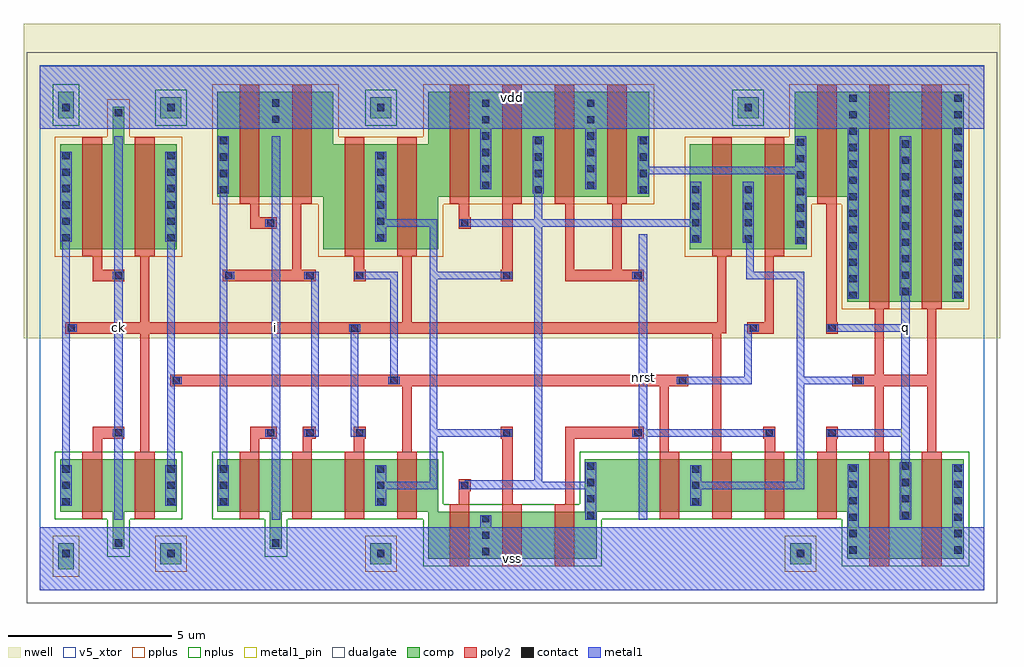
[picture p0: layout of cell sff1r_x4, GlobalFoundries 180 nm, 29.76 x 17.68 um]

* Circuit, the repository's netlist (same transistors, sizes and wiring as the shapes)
* sff1r_x4
.subckt sff1r_x4 vdd ck vss i nrst q
Mp_ck_1 nckr ck vdd vdd pfet_06v0 l=0.6um w=3.2um
Mn_ck_1 nckr ck vss vss nfet_06v0 l=0.6um w=1.6um
Mp_ckr_1 _net0 ckr sff_m vdd pfet_06v0 l=0.6um w=3.2um
Mn_ckr_2 y ckr sff_s vss nfet_06v0 l=0.6um w=1.6um
Mp_ckr_2 sff_s ckr _net3 vdd pfet_06v0 l=0.6um w=3.2um
Mn_ckr_1 sff_m ckr _net6 vss nfet_06v0 l=0.6um w=1.6um
Mp_i_1 u i vdd vdd pfet_06v0 l=0.6um w=3.2um
Mn_i_1 u i vss vss nfet_06v0 l=0.6um w=1.6um
Mp_nckr_1 vdd nckr ckr vdd pfet_06v0 l=0.6um w=3.2um
Mn_nckr_1 vss nckr ckr vss nfet_06v0 l=0.6um w=1.6um
Mp_nckr_3 y nckr sff_s vdd pfet_06v0 l=0.6um w=3.2um
Mn_nckr_2 _net7 nckr sff_m vss nfet_06v0 l=0.6um w=1.6um
Mn_nckr_3 sff_s nckr _net8 vss nfet_06v0 l=0.6um w=1.6um
Mp_nckr_2 sff_m nckr _net2 vdd pfet_06v0 l=0.6um w=3.2um
Mn_nrst_2 _net8 nrst _net5 vss nfet_06v0 l=0.6um w=1.6um
Mp_nrst_1 y nrst vdd vdd pfet_06v0 l=0.6um w=3.2um
Mn_nrst_1 _net4 nrst y vss nfet_06v0 l=0.6um w=1.44um
Mp_nrst_2 vdd nrst _net3 vdd pfet_06v0 l=0.6um w=3.2um
Mn_q_1 _net5 q vss vss nfet_06v0 l=0.6um w=1.6um
Mp_q_1 _net3 q vdd vdd pfet_06v0 l=0.6um w=3.2um
Mn_sffm_1 vss sff_m _net4 vss nfet_06v0 l=0.6um w=1.44um
Mp_sffm_1 vdd sff_m y vdd pfet_06v0 l=0.6um w=3.2um
Mn_sffs_1 vss sff_s q vss nfet_06v0 l=0.6um w=3.04um
Mn_sffs_2 q sff_s vss vss nfet_06v0 l=0.6um w=3.04um
Mp_sffs_1 vdd sff_s q vdd pfet_06v0 l=0.6um w=6.4um
Mp_sffs_2 q sff_s vdd vdd pfet_06v0 l=0.6um w=6.4um
Mp_u_1 vdd u _net0 vdd pfet_06v0 l=0.6um w=3.2um
Mn_u_1 vss u _net7 vss nfet_06v0 l=0.6um w=1.6um
Mp_y_1 _net2 y vdd vdd pfet_06v0 l=0.6um w=3.2um
Mn_y_1 _net6 y vss vss nfet_06v0 l=0.6um w=1.44um
.ends sff1r_x4

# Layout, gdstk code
import gdstk
lib = gdstk.Library(unit=1e-6, precision=1e-09)
def R(c, l, rs):  # rectangles x0, y0, x1, y1
    for r in rs: c.add(gdstk.rectangle(r[:2], r[2:], *l))
def A(c, l, x, y, w, h, nx, ny, dx, dy):  # array of equal rectangles
    R(c, l, [(x+i*dx, y+j*dy, x+i*dx+w, y+j*dy+h) for i in range(nx) for j in range(ny)])
def P(c, l, *ps):  # polygons
    for p in ps: c.add(gdstk.Polygon(p, *l))
nwell = (21, 0)
comp = (22, 0)
poly2 = (30, 0)
pplus = (31, 0)
nplus = (32, 0)
contact = (33, 0)
metal1 = (34, 0)
metal1_pin = (34, 10)
dualgate = (55, 0)
v5_xtor = (112, 1)

sff1r_x4 = lib.new_cell('sff1r_x4')
R(sff1r_x4, nwell, [(-0.48,7.68,29.28,17.28)])
R(sff1r_x4, comp, [(0.56,0.64,1.04,1.44), (3.68,0.8,4.32,1.44), (10.08,0.8,10.72,1.44), (22.88,0.8,23.52,1.44), (0.56,14.4,1.04,15.2), (3.68,14.4,4.32,15.04), (10.08,14.4,10.72,15.04), (21.28,14.4,21.92,15.04)])
P(sff1r_x4, comp, [(2.22,1.26),(2.22,2.4),(0.62,2.4),(0.62,4),(4.18,4),(4.18,2.4),(2.58,2.4),(2.58,1.26)],
  [(0.62,10.4),(0.62,13.6),(2.22,13.6),(2.22,14.74),(2.58,14.74),(2.58,13.6),(4.18,13.6),(4.18,10.4)],
  [(24.62,8.8),(24.62,12),(23.38,12),(23.38,10.4),(19.82,10.4),(19.82,13.6),(23.02,13.6),(23.02,15.2),(28.18,15.2),(28.18,8.8)],
  [(8.65,10.4),(8.65,12),(5.42,12),(5.42,15.2),(8.95,15.2),(8.95,13.6),(11.85,13.6),(11.85,15.2),(18.58,15.2),(18.58,12),(12.15,12),(12.15,10.4)],
  [(11.85,0.96),(11.85,2.4),(7.38,2.4),(7.38,1.26),(7.02,1.26),(7.02,2.4),(5.42,2.4),(5.42,4),(12.15,4),(12.15,2.4),(16.62,2.4),(16.62,4),(28.18,4),(28.18,0.96),(24.62,0.96),(24.62,2.4),(16.98,2.4),(16.98,0.96)])
P(sff1r_x4, poly2, [(2.9,2.18),(2.9,4.22),(3.06,4.22),(3.06,7.82),(0.78,7.82),(0.78,8.18),(3.06,8.18),(3.06,10.18),(2.9,10.18),(2.9,13.82),(3.5,13.82),(3.5,10.18),(3.34,10.18),(3.34,8.18),(11.06,8.18),(11.06,10.18),(10.9,10.18),(10.9,13.82),(11.5,13.82),(11.5,10.18),(11.34,10.18),(11.34,8.18),(20.66,8.18),(20.66,10.18),(20.5,10.18),(20.5,13.82),(21.1,13.82),(21.1,10.18),(20.94,10.18),(20.94,7.84),(20.78,7.84),(20.78,4.22),(21.1,4.22),(21.1,2.18),(20.5,2.18),(20.5,7.82),(3.34,7.82),(3.34,4.22),(3.5,4.22),(3.5,2.18)],
  [(9.3,2.18),(9.3,4.22),(9.58,4.22),(9.58,4.98),(9.94,4.98),(9.94,4.62),(9.9,4.62),(9.9,2.18)],
  [(1.62,9.42),(1.62,10.18),(1.3,10.18),(1.3,13.82),(1.9,13.82),(1.9,9.78),(2.58,9.78),(2.58,9.42)],
  [(1.3,2.18),(1.3,4.22),(1.62,4.22),(1.62,4.98),(2.58,4.98),(2.58,4.62),(1.9,4.62),(1.9,2.18)],
  [(14.1,0.74),(14.1,4.62),(14.06,4.62),(14.06,4.98),(14.42,4.98),(14.42,2.62),(14.7,2.62),(14.7,0.74)],
  [(14.06,9.42),(14.06,9.78),(14.1,9.78),(14.1,15.42),(14.7,15.42),(14.7,11.78),(14.42,11.78),(14.42,9.42)],
  [(10.9,2.18),(10.9,4.22),(11.06,4.22),(11.06,6.22),(3.98,6.22),(3.98,6.58),(19.78,6.58),(19.78,6.22),(19.18,6.22),(19.18,4.22),(19.5,4.22),(19.5,2.18),(18.9,2.18),(18.9,6.22),(11.34,6.22),(11.34,4.22),(11.5,4.22),(11.5,2.18)],
  [(9.58,9.42),(9.58,10.18),(9.3,10.18),(9.3,13.82),(9.9,13.82),(9.9,9.78),(9.94,9.78),(9.94,9.42)],
  [(21.58,7.82),(21.58,8.18),(22.1,8.18),(22.1,13.82),(22.7,13.82),(22.7,10.18),(22.38,10.18),(22.38,7.82)],
  [(12.5,0.74),(12.5,2.62),(12.78,2.62),(12.78,3.38),(13.14,3.38),(13.14,3.02),(13.1,3.02),(13.1,0.74)],
  [(12.78,11.02),(12.78,11.78),(12.5,11.78),(12.5,15.42),(13.1,15.42),(13.1,11.38),(13.14,11.38),(13.14,11.02)],
  [(25.3,0.74),(25.3,4.22),(25.46,4.22),(25.46,6.22),(24.78,6.22),(24.78,6.58),(25.46,6.58),(25.46,8.58),(25.3,8.58),(25.3,15.42),(25.9,15.42),(25.9,8.58),(25.74,8.58),(25.74,6.58),(27.06,6.58),(27.06,8.58),(26.9,8.58),(26.9,15.42),(27.5,15.42),(27.5,8.58),(27.34,8.58),(27.34,4.22),(27.5,4.22),(27.5,0.74),(26.9,0.74),(26.9,4.22),(27.06,4.22),(27.06,6.22),(25.74,6.22),(25.74,4.22),(25.9,4.22),(25.9,0.74)],
  [(5.58,9.42),(5.58,9.78),(7.7,9.78),(7.7,15.42),(8.3,15.42),(8.3,11.78),(7.98,11.78),(7.98,9.78),(8.42,9.78),(8.42,9.42)],
  [(7.7,2.18),(7.7,4.22),(8.02,4.22),(8.02,4.98),(8.42,4.98),(8.42,4.62),(8.3,4.62),(8.3,2.18)],
  [(6.1,2.18),(6.1,4.22),(6.42,4.22),(6.42,4.98),(7.22,4.98),(7.22,4.62),(6.7,4.62),(6.7,2.18)],
  [(6.42,11.02),(6.42,11.78),(6.1,11.78),(6.1,15.42),(6.7,15.42),(6.7,11.38),(7.22,11.38),(7.22,11.02)],
  [(22.1,2.18),(22.1,4.62),(22.06,4.62),(22.06,4.98),(22.42,4.98),(22.42,4.22),(22.7,4.22),(22.7,2.18)],
  [(15.7,0.74),(15.7,2.62),(16.02,2.62),(16.02,4.98),(18.42,4.98),(18.42,4.62),(16.3,4.62),(16.3,0.74)],
  [(16.02,9.42),(16.02,11.78),(15.7,11.78),(15.7,15.42),(16.3,15.42),(16.3,9.78),(17.46,9.78),(17.46,11.78),(17.3,11.78),(17.3,15.42),(17.9,15.42),(17.9,11.78),(17.74,11.78),(17.74,9.78),(18.42,9.78),(18.42,9.42)],
  [(23.98,7.82),(23.98,11.78),(23.7,11.78),(23.7,15.42),(24.3,15.42),(24.3,8.18),(24.34,8.18),(24.34,7.82)],
  [(23.7,2.18),(23.7,4.22),(23.98,4.22),(23.98,4.98),(24.34,4.98),(24.34,4.62),(24.3,4.62),(24.3,2.18)])
R(sff1r_x4, pplus, [(0.4,0.41,1.2,1.67), (3.52,0.57,4.48,1.67), (9.92,0.57,10.88,1.67), (22.72,0.57,23.68,1.67)])
P(sff1r_x4, pplus, [(0.46,10.17),(0.46,13.83),(2.06,13.83),(2.06,14.97),(2.74,14.97),(2.74,13.83),(4.34,13.83),(4.34,10.17)],
  [(24.46,8.57),(24.46,11.77),(23.54,11.77),(23.54,10.17),(19.66,10.17),(19.66,13.83),(22.86,13.83),(22.86,15.43),(28.34,15.43),(28.34,8.57)],
  [(8.49,10.17),(8.49,11.77),(5.26,11.77),(5.26,15.43),(9.11,15.43),(9.11,13.83),(11.69,13.83),(11.69,15.43),(18.74,15.43),(18.74,11.77),(12.31,11.77),(12.31,10.17)])
R(sff1r_x4, nplus, [(0.4,14.17,1.2,15.43), (3.52,14.17,4.48,15.27), (9.92,14.17,10.88,15.27), (21.12,14.17,22.08,15.27)])
P(sff1r_x4, nplus, [(11.69,0.73),(11.69,2.17),(7.54,2.17),(7.54,1.03),(6.86,1.03),(6.86,2.17),(5.26,2.17),(5.26,4.23),(12.31,4.23),(12.31,2.63),(16.46,2.63),(16.46,4.23),(28.34,4.23),(28.34,0.73),(24.46,0.73),(24.46,2.17),(17.14,2.17),(17.14,0.73)],
  [(2.06,1.03),(2.06,2.17),(0.46,2.17),(0.46,4.23),(4.34,4.23),(4.34,2.17),(2.74,2.17),(2.74,1.03)])
A(sff1r_x4, contact, 13.49, 1.07, 0.22, 0.22, 1, 3, 0, 0.5)
A(sff1r_x4, contact, 24.69, 1.12, 0.22, 0.22, 1, 6, 0, 0.5)
A(sff1r_x4, contact, 27.89, 1.12, 0.22, 0.22, 1, 6, 0, 0.5)
A(sff1r_x4, contact, 16.69, 2.18, 0.22, 0.22, 1, 4, 0, 0.5)
A(sff1r_x4, contact, 26.29, 2.18, 0.22, 0.22, 1, 4, 0, 0.5)
A(sff1r_x4, contact, 0.69, 2.59, 0.22, 0.22, 1, 3, 0, 0.5)
A(sff1r_x4, contact, 3.89, 2.59, 0.22, 0.22, 1, 3, 0, 0.5)
A(sff1r_x4, contact, 5.49, 2.59, 0.22, 0.22, 1, 3, 0, 0.5)
A(sff1r_x4, contact, 10.29, 2.59, 0.22, 0.22, 1, 3, 0, 0.5)
A(sff1r_x4, contact, 19.89, 2.59, 0.22, 0.22, 1, 3, 0, 0.5)
A(sff1r_x4, contact, 14.13, 4.69, 0.22, 0.22, 3, 1, 4, 0)
A(sff1r_x4, contact, 24.69, 8.89, 0.22, 0.22, 1, 13, 0, 0.5)
A(sff1r_x4, contact, 27.89, 8.89, 0.22, 0.22, 1, 13, 0, 0.5)
A(sff1r_x4, contact, 26.29, 9, 0.22, 0.22, 1, 10, 0, 0.5)
A(sff1r_x4, contact, 23.09, 10.55, 0.22, 0.22, 1, 7, 0, 0.5)
A(sff1r_x4, contact, 19.89, 10.6, 0.22, 0.22, 1, 3, 0, 0.5)
A(sff1r_x4, contact, 21.49, 10.6, 0.22, 0.22, 1, 3, 0, 0.5)
A(sff1r_x4, contact, 0.69, 10.64, 0.22, 0.22, 1, 6, 0, 0.5)
A(sff1r_x4, contact, 3.89, 10.64, 0.22, 0.22, 1, 6, 0, 0.5)
A(sff1r_x4, contact, 10.29, 10.64, 0.22, 0.22, 1, 6, 0, 0.5)
A(sff1r_x4, contact, 5.49, 12.1, 0.22, 0.22, 1, 4, 0, 0.5)
A(sff1r_x4, contact, 15.09, 12.1, 0.22, 0.22, 1, 4, 0, 0.5)
A(sff1r_x4, contact, 18.29, 12.1, 0.22, 0.22, 3, 1, 1.6, 0)
A(sff1r_x4, contact, 13.49, 12.24, 0.22, 0.22, 1, 6, 0, 0.5)
A(sff1r_x4, contact, 16.69, 12.24, 0.22, 0.22, 1, 6, 0, 0.5)
A(sff1r_x4, contact, 18.29, 12.6, 0.22, 0.22, 1, 3, 0, 0.5)
R(sff1r_x4, contact, [(0.69,1.01,0.91,1.23), (3.89,1.01,4.11,1.23), (10.29,1.01,10.51,1.23), (23.09,1.01,23.31,1.23), (2.29,1.33,2.51,1.55), (7.09,1.33,7.31,1.55), (12.85,3.09,13.07,3.31), (2.29,4.69,2.51,4.91), (6.93,4.69,7.15,4.91), (8.13,4.69,8.35,4.91), (9.65,4.69,9.87,4.91), (24.05,4.69,24.27,4.91), (4.05,6.29,4.27,6.51), (10.69,6.29,10.91,6.51), (19.49,6.29,19.71,6.51), (24.85,6.29,25.07,6.51), (0.85,7.89,1.07,8.11), (9.49,7.89,9.71,8.11), (21.65,7.89,21.87,8.11), (24.05,7.89,24.27,8.11), (2.29,9.49,2.51,9.71), (5.65,9.49,5.87,9.71), (8.13,9.49,8.35,9.71), (9.65,9.49,9.87,9.71), (14.13,9.49,14.35,9.71), (18.13,9.49,18.35,9.71), (6.93,11.09,7.15,11.31), (12.85,11.09,13.07,11.31), (7.09,14.25,7.31,14.47), (2.29,14.45,2.51,14.67), (0.69,14.61,0.91,14.83), (3.89,14.61,4.11,14.83), (10.29,14.61,10.51,14.83), (21.49,14.61,21.71,14.83), (7.09,14.75,7.31,14.97)])
P(sff1r_x4, metal1, [(0.63,2.585),(0.63,3.815),(0.685,3.815),(0.685,10.635),(0.63,10.635),(0.63,13.365),(0.97,13.365),(0.97,10.635),(0.915,10.635),(0.915,8.115),(1.13,8.115),(1.13,7.885),(0.915,7.885),(0.915,3.815),(0.97,3.815),(0.97,2.585)],
  [(9.485,4.685),(9.485,7.885),(9.43,7.885),(9.43,8.115),(9.77,8.115),(9.77,7.885),(9.715,7.885),(9.715,4.915),(9.93,4.915),(9.93,4.685)],
  [(24.63,8.885),(24.63,14.08),(16.97,14.08),(16.97,12.235),(16.63,12.235),(16.63,14.08),(13.77,14.08),(13.77,12.235),(13.43,12.235),(13.43,14.08),(0,14.08),(0,16),(28.8,16),(28.8,14.08),(28.17,14.08),(28.17,8.885),(27.83,8.885),(27.83,14.08),(24.97,14.08),(24.97,8.885)],
  [(2.27,2.15),(2.27,4.685),(2.23,4.685),(2.23,4.915),(2.27,4.915),(2.27,9.485),(2.23,9.485),(2.23,9.715),(2.27,9.715),(2.27,13.85),(2.53,13.85),(2.53,9.715),(2.57,9.715),(2.57,9.485),(2.53,9.485),(2.53,4.915),(2.57,4.915),(2.57,4.685),(2.53,4.685),(2.53,2.15)],
  [(0,0),(0,1.92),(13.43,1.92),(13.43,2.295),(13.77,2.295),(13.77,1.92),(24.63,1.92),(24.63,3.845),(24.97,3.845),(24.97,1.92),(27.83,1.92),(27.83,3.845),(28.17,3.845),(28.17,1.92),(28.8,1.92),(28.8,0)],
  [(10.23,2.585),(10.23,3.815),(10.57,3.815),(10.57,3.315),(11.885,3.315),(11.885,11.085),(10.57,11.085),(10.57,10.635),(10.23,10.635),(10.23,13.365),(10.57,13.365),(10.57,11.315),(12.115,11.315),(12.115,9.715),(14.41,9.715),(14.41,9.485),(12.115,9.485),(12.115,4.915),(14.41,4.915),(14.41,4.685),(12.115,4.685),(12.115,3.085),(10.57,3.085),(10.57,2.585)],
  [(3.83,2.585),(3.83,3.815),(3.885,3.815),(3.885,10.635),(3.83,10.635),(3.83,13.365),(4.17,13.365),(4.17,10.635),(4.115,10.635),(4.115,6.515),(4.33,6.515),(4.33,6.285),(4.115,6.285),(4.115,3.815),(4.17,3.815),(4.17,2.585)],
  [(10.63,6.285),(10.63,6.515),(10.685,6.515),(10.685,9.485),(9.59,9.485),(9.59,9.715),(10.915,9.715),(10.915,6.515),(10.97,6.515),(10.97,6.285)],
  [(19.43,6.285),(19.43,6.515),(21.485,6.515),(21.485,8.115),(21.93,8.115),(21.93,7.885),(21.715,7.885),(21.715,6.285)],
  [(16.63,2.15),(16.63,3.085),(12.79,3.085),(12.79,3.315),(12.96,3.315),(12.96,3.36),(15.085,3.36),(15.085,11.085),(12.79,11.085),(12.79,11.315),(15.085,11.315),(15.085,12.095),(15.03,12.095),(15.03,13.85),(15.37,13.85),(15.37,12.095),(15.315,12.095),(15.315,11.315),(19.83,11.315),(19.83,12.455),(20.17,12.455),(20.17,10.595),(19.83,10.595),(19.83,11.085),(15.315,11.085),(15.315,3.315),(16.63,3.315),(16.63,3.905),(16.97,3.905),(16.97,2.15)],
  [(19.83,2.585),(19.83,3.815),(20.17,3.815),(20.17,3.315),(23.085,3.315),(23.085,9.485),(21.54,9.485),(21.54,10.595),(21.43,10.595),(21.43,12.455),(21.77,12.455),(21.77,9.715),(23.315,9.715),(23.315,6.515),(25.13,6.515),(25.13,6.285),(23.315,6.285),(23.315,3.085),(20.17,3.085),(20.17,2.585)],
  [(23.03,10.545),(23.03,12.685),(18.57,12.685),(18.57,12.095),(18.23,12.095),(18.23,13.85),(18.57,13.85),(18.57,12.915),(23.03,12.915),(23.03,13.85),(23.37,13.85),(23.37,10.545)],
  [(5.43,2.585),(5.43,3.815),(5.485,3.815),(5.485,12.095),(5.43,12.095),(5.43,13.85),(5.77,13.85),(5.77,12.095),(5.715,12.095),(5.715,9.715),(5.93,9.715),(5.93,9.485),(5.715,9.485),(5.715,3.815),(5.77,3.815),(5.77,2.585)],
  [(8.07,4.685),(8.07,4.915),(8.285,4.915),(8.285,9.485),(8.07,9.485),(8.07,9.715),(8.515,9.715),(8.515,4.685)],
  [(7.07,2.15),(7.07,4.685),(6.87,4.685),(6.87,4.915),(7.07,4.915),(7.07,11.085),(6.87,11.085),(6.87,11.315),(7.07,11.315),(7.07,13.85),(7.33,13.85),(7.33,2.15)],
  [(18.27,2.15),(18.27,4.685),(18.07,4.685),(18.07,4.915),(18.27,4.915),(18.27,9.485),(18.07,9.485),(18.07,9.715),(18.27,9.715),(18.27,10.855),(18.53,10.855),(18.53,4.915),(22.41,4.915),(22.41,4.685),(18.53,4.685),(18.53,2.15)],
  [(26.23,2.15),(26.23,3.905),(26.27,3.905),(26.27,4.685),(23.99,4.685),(23.99,4.915),(26.27,4.915),(26.27,7.885),(23.99,7.885),(23.99,8.115),(26.27,8.115),(26.27,8.995),(26.23,8.995),(26.23,13.85),(26.57,13.85),(26.57,8.995),(26.53,8.995),(26.53,3.905),(26.57,3.905),(26.57,2.15)])
R(sff1r_x4, metal1_pin, [(0,0,28.8,1.92), (2.27,2.15,2.53,13.85), (7.07,2.15,7.33,13.85), (18.27,2.15,18.53,10.855), (26.27,2.15,26.53,13.85), (0,14.08,28.8,16)])
R(sff1r_x4, dualgate, [(-0.4,-0.4,29.2,16.4)])
R(sff1r_x4, v5_xtor, [(-0.005,-0.005,28.805,16.005)])
sff1r_x4.add(gdstk.Label('vdd', (14.4,15.04), layer=34, texttype=10))
sff1r_x4.add(gdstk.Label('ck', (2.4,8), layer=34, texttype=10))
sff1r_x4.add(gdstk.Label('vss', (14.4,0.96), layer=34, texttype=10))
sff1r_x4.add(gdstk.Label('i', (7.2,8), layer=34, texttype=10))
sff1r_x4.add(gdstk.Label('nrst', (18.4,6.503), layer=34, texttype=10))
sff1r_x4.add(gdstk.Label('q', (26.4,8), layer=34, texttype=10))

lib.write_gds('sff1r_x4.gds')
